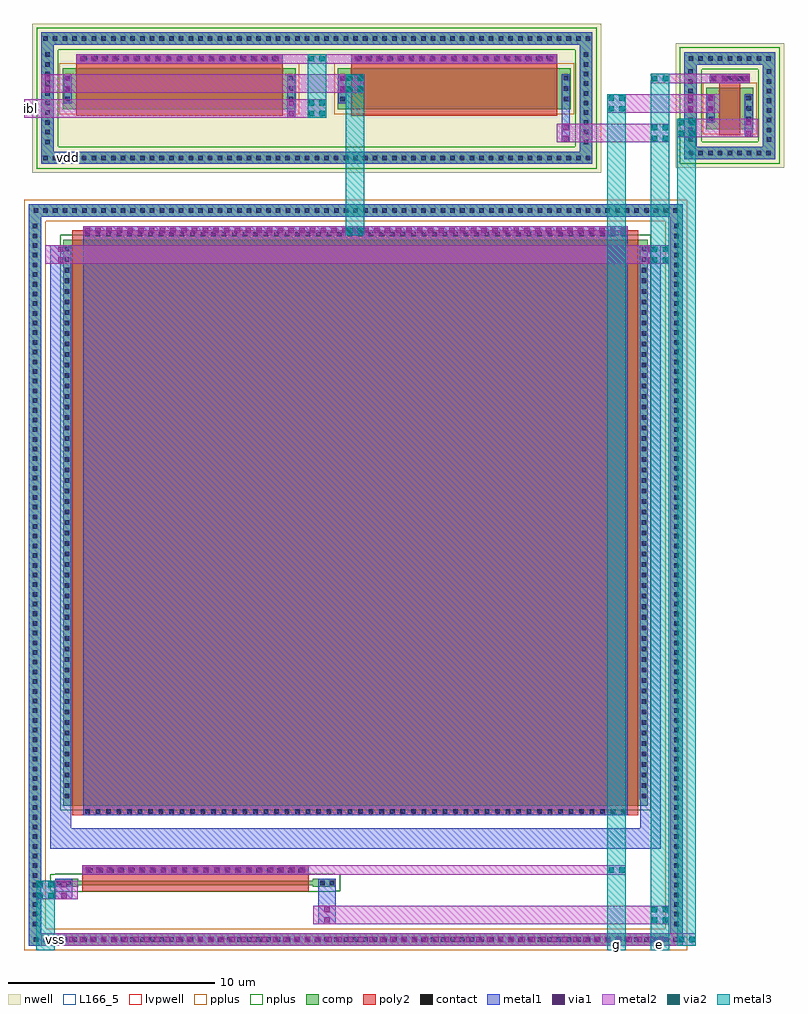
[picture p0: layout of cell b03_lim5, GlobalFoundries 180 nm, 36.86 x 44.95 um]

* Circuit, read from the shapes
.subckt b03_lim5 e g ibl vdd vss x
XM1 e vdd e vss nfet_03v3 w=27.45u l=27.45u
XM2 e g x vss nfet_03v3 w=0.22u l=11u
XM3 ibl ibl vdd vdd pfet_03v3 w=2u l=10u
XM4 e ibl vdd vdd pfet_03v3 w=2u l=10u
XM5 vss e g g pfet_03v3 w=2u l=1u
.ends

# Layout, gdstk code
import gdstk
lib = gdstk.Library(unit=1e-6, precision=1e-09)
def R(c, l, rs):  # rectangles x0, y0, x1, y1
    for r in rs: c.add(gdstk.rectangle(r[:2], r[2:], *l))
def A(c, l, x, y, w, h, nx, ny, dx, dy):  # array of equal rectangles
    R(c, l, [(x+i*dx, y+j*dy, x+i*dx+w, y+j*dy+h) for i in range(nx) for j in range(ny)])
def P(c, l, *ps):  # polygons
    for p in ps: c.add(gdstk.Polygon(p, *l))
nwell = (21, 0)
comp = (22, 0)
poly2 = (30, 0)
pplus = (31, 0)
nplus = (32, 0)
contact = (33, 0)
metal1 = (34, 0)
via1 = (35, 0)
metal2 = (36, 0)
via2 = (38, 0)
metal3 = (42, 0)
L166_5 = (166, 5)
lvpwell = (204, 0)

pfet_1_8 = lib.new_cell('pfet$1$8')
R(pfet_1_8, nwell, [(-1.07,-0.74,2.45,3.12)])
R(pfet_1_8, comp, [(-0.46,0,1.84,2)])
R(pfet_1_8, poly2, [(0.19,-0.3,1.19,2.68)])
R(pfet_1_8, pplus, [(-0.63,-0.24,2.01,2.24)])
A(pfet_1_8, contact, -0.34, 0.38, 0.22, 0.22, 1, 3, 0, 0.51)
A(pfet_1_8, contact, 1.5, 0.38, 0.22, 0.22, 1, 3, 0, 0.51)
R(pfet_1_8, contact, [(0.58,2.38,0.8,2.6)])
R(pfet_1_8, metal1, [(-0.42,0.3,-0.04,1.7), (1.42,0.3,1.8,1.7), (0.5,2.3,0.88,2.68)])

pfet_21 = lib.new_cell('pfet$21')
R(pfet_21, nwell, [(-1.07,-0.74,11.45,3.12)])
R(pfet_21, comp, [(-0.46,0,10.84,2)])
R(pfet_21, poly2, [(0.19,-0.3,10.19,2.68)])
R(pfet_21, pplus, [(-0.63,-0.24,11.01,2.24)])
A(pfet_21, contact, -0.34, 0.38, 0.22, 0.22, 1, 3, 0, 0.51)
A(pfet_21, contact, 10.5, 0.38, 0.22, 0.22, 1, 3, 0, 0.51)
A(pfet_21, contact, 0.49, 2.38, 0.22, 0.22, 19, 1, 0.51, 0)
R(pfet_21, metal1, [(-0.42,0.3,-0.04,1.7), (10.42,0.3,10.8,1.7), (0.41,2.3,9.97,2.68)])

cap_nmos_3 = lib.new_cell('cap_nmos$3')
R(cap_nmos_3, comp, [(0,0,28.33,27.45)])
R(cap_nmos_3, poly2, [(0.44,-0.46,27.89,27.91)])
R(cap_nmos_3, nplus, [(-0.16,-0.23,28.49,27.68)])
A(cap_nmos_3, contact, 1.05, -0.39, 0.22, 0.22, 52, 2, 0.51, 28.01)
A(cap_nmos_3, contact, 0.07, 0.355, 0.22, 0.22, 1, 53, 0, 0.51)
A(cap_nmos_3, contact, 28.04, 0.355, 0.22, 0.22, 1, 53, 0, 0.51)
R(cap_nmos_3, metal1, [(0.97,-0.47,27.36,27.92)])
P(cap_nmos_3, metal1, [(-0.63,-2.095),(-0.63,27.175),(0.37,27.175),(0.37,-1.095),(27.98,-1.095),(27.98,0.275),(27.96,0.275),(27.96,27.175),(28.98,27.175),(28.98,-2.095)])
R(cap_nmos_3, L166_5, [(0,0,28.33,27.45)])
R(cap_nmos_3, lvpwell, [(0,0,28.33,27.45)])

nfet_17 = lib.new_cell('nfet$17')
P(nfet_17, comp, [(-0.93,-0.08),(-0.93,0.3),(0,0.3),(0,0.22),(11.38,0.22),(11.38,0.3),(12.31,0.3),(12.31,-0.08),(11.38,-0.08),(11.38,0),(0,0),(0,-0.08)])
R(nfet_17, poly2, [(0.19,-0.3,11.19,0.88)])
R(nfet_17, nplus, [(-1.1,-0.32,12.48,0.54)])
A(nfet_17, contact, 0.48, 0.59, 0.22, 0.22, 21, 1, 0.51, 0)
R(nfet_17, contact, [(-0.575,0,-0.355,0.22), (11.735,0,11.955,0.22)])
R(nfet_17, metal1, [(-0.655,-0.08,-0.275,0.3), (11.655,-0.08,12.035,0.3), (0.4,0.51,10.98,0.89)])

nfet_w0p22_l11_nf1_2co = lib.new_cell('nfet_W0p22_L11_nf1_2co')
R(nfet_w0p22_l11_nf1_2co, comp, [(-1.115,-0.08,-0.575,0.3), (11.955,-0.08,12.495,0.3)])
R(nfet_w0p22_l11_nf1_2co, nplus, [(-1.345,-0.31,-0.575,0.53), (11.955,-0.31,12.725,0.53)])
R(nfet_w0p22_l11_nf1_2co, contact, [(-1.045,0,-0.825,0.22), (12.205,0,12.425,0.22)])
R(nfet_w0p22_l11_nf1_2co, metal1, [(-1.105,-0.08,-0.275,0.3), (11.655,-0.08,12.485,0.3)])
nfet_w0p22_l11_nf1_2co.add(gdstk.Reference(nfet_17, (0,0)))

b03_lim5 = lib.new_cell('b03_lim5')
R(b03_lim5, nwell, [(0.41,37.715,27.99,44.955), (31.6,37.955,36.86,43.995)])
R(b03_lim5, comp, [(0.23,0.23,31.94,0.83), (0.23,0.83,0.83,35.585), (31.34,0.83,31.94,35.585), (0.23,35.585,31.94,36.185), (0.84,38.145,27.56,38.745), (32.03,38.385,36.43,38.985), (0.84,38.745,1.44,43.925), (26.96,38.745,27.56,43.925), (32.03,38.985,32.63,42.965), (35.83,38.985,36.43,42.965), (32.03,42.965,36.43,43.565), (0.84,43.925,27.56,44.525)])
R(b03_lim5, poly2, [(2.815,3.69,13.815,4.13), (33.26,42.055,35.2,42.515), (2.54,43.015,12.54,43.475), (15.86,43.015,25.86,43.475)])
R(b03_lim5, pplus, [(0,0,32.17,1.06), (0,1.06,1.06,35.355), (31.11,1.06,32.17,35.355), (0,35.355,32.17,36.415)])
R(b03_lim5, nplus, [(0.61,37.915,27.79,38.975), (31.8,38.155,36.66,39.215), (0.61,38.975,1.67,43.695), (26.73,38.975,27.79,43.695), (31.8,39.215,32.86,42.735), (35.6,39.215,36.66,42.735), (31.8,42.735,36.66,43.795), (0.61,43.695,27.79,44.755)])
A(b03_lim5, contact, 0.465, 0.42, 0.22, 0.22, 67, 2, 0.47, 35.355)
A(b03_lim5, contact, 0.42, 1.18, 0.22, 0.22, 1, 73, 0, 0.47)
A(b03_lim5, contact, 31.53, 1.18, 0.22, 0.22, 1, 73, 0, 0.47)
A(b03_lim5, contact, 0.93, 38.335, 0.22, 0.22, 57, 2, 0.47, 5.78)
A(b03_lim5, contact, 32.24, 38.575, 0.22, 0.22, 9, 2, 0.47, 4.58)
A(b03_lim5, contact, 1.03, 39.11, 0.22, 0.22, 1, 10, 0, 0.47)
A(b03_lim5, contact, 27.15, 39.11, 0.22, 0.22, 1, 10, 0, 0.47)
A(b03_lim5, contact, 32.22, 39.22, 0.22, 0.22, 1, 8, 0, 0.47)
A(b03_lim5, contact, 36.02, 39.22, 0.22, 0.22, 1, 8, 0, 0.47)
R(b03_lim5, contact, [(33.33,42.175,33.55,42.395), (34.63,42.175,34.85,42.395)])
R(b03_lim5, metal1, [(0.23,0.23,31.94,0.83), (1.23,0.23,1.83,0.83), (0.23,0.83,0.83,35.585), (31.34,0.83,31.94,35.585), (14.28,1.28,15.11,3.19), (1.52,2.48,2.35,3.19), (2.815,3.68,13.815,4.13), (2.88,34.695,29.27,35.135), (0.23,35.585,31.94,36.185), (0.84,38.145,27.56,38.745), (1.84,38.145,2.44,38.745), (32.03,38.385,36.43,38.985), (0.84,38.745,1.44,43.925), (26.96,38.745,27.56,43.925), (32.03,38.985,32.63,42.965), (35.83,38.985,36.43,42.965), (26.09,39.195,26.47,41.195), (34.96,39.435,35.34,40.235), (12.77,40.395,13.15,41.195), (33.26,42.055,35.2,42.515), (32.03,42.965,36.43,43.565), (2.54,43.015,12.54,43.475), (15.86,43.015,25.86,43.475), (0.84,43.925,27.56,44.525)])
A(b03_lim5, via1, 1.135, 0.4, 0.26, 0.26, 58, 1, 0.52, 0)
A(b03_lim5, via1, 2.985, 3.775, 0.26, 0.26, 21, 1, 0.52, 0)
A(b03_lim5, via1, 2.945, 34.785, 0.26, 0.26, 51, 1, 0.52, 0)
A(b03_lim5, via1, 33.32, 42.155, 0.26, 0.26, 4, 1, 0.52, 0)
A(b03_lim5, via1, 2.73, 43.115, 0.26, 0.26, 19, 1, 0.52, 0)
A(b03_lim5, via1, 16.05, 43.115, 0.26, 0.26, 19, 1, 0.52, 0)
R(b03_lim5, via1, [(14.565,1.34,14.825,1.6), (14.565,1.86,14.825,2.12), (1.805,2.54,2.065,2.8), (1.805,3.06,2.065,3.32), (1.65,33.36,1.91,33.62), (30.26,33.36,30.52,33.62), (1.65,33.88,1.91,34.14), (30.26,33.88,30.52,34.14), (26.15,39.255,26.41,39.515), (35.02,39.495,35.28,39.755), (26.15,39.775,26.41,40.035), (35.02,40.015,35.28,40.275), (12.83,40.455,13.09,40.715), (32.2,40.695,32.46,40.955), (33.18,40.695,33.44,40.955), (12.83,40.975,13.09,41.235), (32.2,41.215,32.46,41.475), (33.18,41.215,33.44,41.475), (1.01,41.655,1.27,41.915), (1.99,41.655,2.25,41.915), (15.31,41.655,15.57,41.915), (1.01,42.175,1.27,42.435), (1.99,42.175,2.25,42.435), (15.31,42.175,15.57,42.435)])
R(b03_lim5, metal2, [(0.83,0.23,32.59,0.83), (31.69,0.23,32.59,0.83), (14.02,1.28,31.29,2.18), (30.39,1.28,31.29,2.18), (0.6,2.48,1.5,3.38), (0.6,2.48,2.61,3.38), (2.815,3.68,29.19,4.13), (28.29,3.68,29.19,4.13), (1.02,33.3,31.29,34.2), (30.39,33.3,31.29,34.2), (2.88,34.695,29.27,35.135), (15.6,34.695,16.5,35.135), (25.83,39.195,31.29,40.095), (30.39,39.195,31.29,40.095), (31.69,39.435,35.6,40.335), (31.69,39.435,32.59,40.335), (0,40.395,14.65,41.295), (0,40.395,0.6,41.295), (13.75,40.395,14.65,41.295), (28.29,40.635,29.19,41.535), (28.29,40.635,33.76,41.535), (0.84,41.595,16.5,42.495), (15.6,41.595,16.5,42.495), (30.39,42.055,31.29,42.515), (30.39,42.055,35.2,42.515), (2.54,43.015,25.86,43.475), (13.75,43.015,14.65,43.475)])
R(b03_lim5, via2, [(31.75,0.4,32.01,0.66), (32.27,0.4,32.53,0.66), (30.45,1.34,30.71,1.6), (30.97,1.34,31.23,1.6), (30.45,1.86,30.71,2.12), (30.97,1.86,31.23,2.12), (0.66,2.54,0.92,2.8), (1.18,2.54,1.44,2.8), (0.66,3.06,0.92,3.32), (1.18,3.06,1.44,3.32), (28.35,3.775,28.61,4.035), (28.87,3.775,29.13,4.035), (30.45,33.36,30.71,33.62), (30.97,33.36,31.23,33.62), (30.45,33.88,30.71,34.14), (30.97,33.88,31.23,34.14), (15.66,34.785,15.92,35.045), (16.18,34.785,16.44,35.045), (30.45,39.255,30.71,39.515), (30.97,39.255,31.23,39.515), (31.75,39.495,32.01,39.755), (32.27,39.495,32.53,39.755), (30.45,39.775,30.71,40.035), (30.97,39.775,31.23,40.035), (31.75,40.015,32.01,40.275), (32.27,40.015,32.53,40.275), (13.81,40.455,14.07,40.715), (14.33,40.455,14.59,40.715), (28.35,40.695,28.61,40.955), (28.87,40.695,29.13,40.955), (13.81,40.975,14.07,41.235), (14.33,40.975,14.59,41.235), (28.35,41.215,28.61,41.475), (28.87,41.215,29.13,41.475), (15.66,41.655,15.92,41.915), (16.18,41.655,16.44,41.915), (30.45,42.155,30.71,42.415), (30.97,42.155,31.23,42.415), (15.66,42.175,15.92,42.435), (16.18,42.175,16.44,42.435), (13.81,43.115,14.07,43.375), (14.33,43.115,14.59,43.375)])
R(b03_lim5, metal3, [(0.6,0,1.5,3.38), (0.6,0,1.5,0.6), (28.29,0,29.19,41.535), (28.29,0,29.19,0.6), (30.39,0,31.29,0.6), (30.39,0,31.29,42.515), (31.69,0.23,32.59,40.335), (15.6,34.695,16.5,42.495), (13.75,40.395,14.65,43.475)])
b03_lim5.add(gdstk.Reference(pfet_1_8, (33.54,39.835)))
b03_lim5.add(gdstk.Reference(pfet_21, (2.35,40.795)))
b03_lim5.add(gdstk.Reference(pfet_21, (15.67,40.795)))
b03_lim5.add(gdstk.Reference(cap_nmos_3, (1.91,7.025)))
b03_lim5.add(gdstk.Reference(nfet_w0p22_l11_nf1_2co, (2.625,3.17)))
b03_lim5.add(gdstk.Label('vdd', (2.14,38.445), layer=34, texttype=10))
b03_lim5.add(gdstk.Label('vss', (1.53,0.53), layer=34, texttype=10))
b03_lim5.add(gdstk.Label('x', (1.05,0.3), layer=42, texttype=10))
b03_lim5.add(gdstk.Label('g', (28.74,0.3), layer=42, texttype=10))
b03_lim5.add(gdstk.Label('e', (30.84,0.3), layer=42, texttype=10))
b03_lim5.add(gdstk.Label('ibl', (0.3,40.845), layer=36, texttype=10))

lib.write_gds('b03_lim5.gds')
